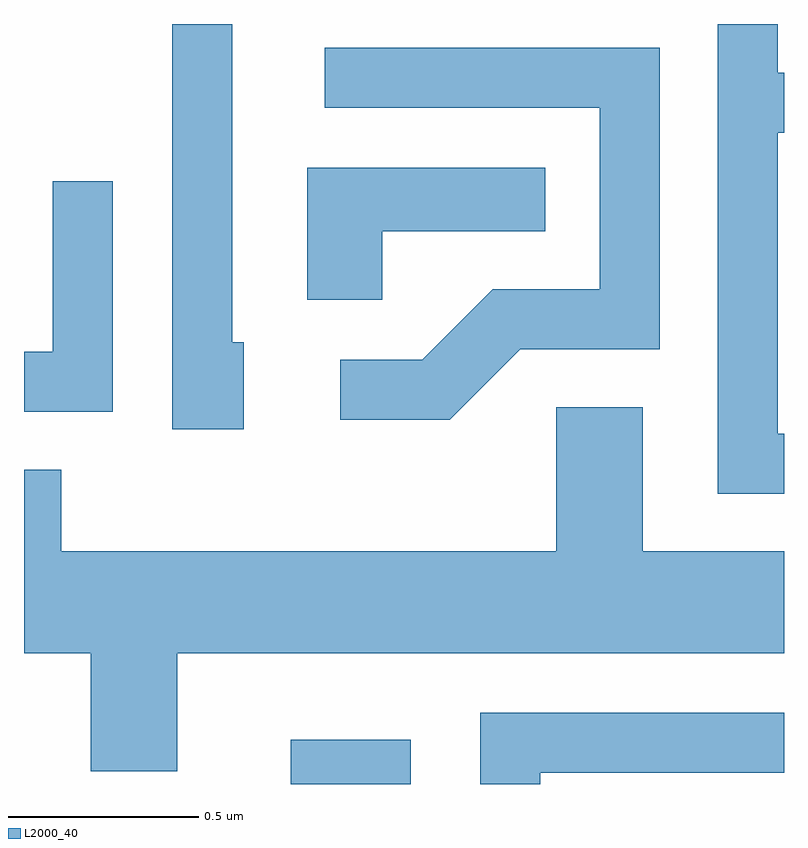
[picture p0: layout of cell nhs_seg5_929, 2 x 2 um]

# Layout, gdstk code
import gdstk
lib = gdstk.Library(unit=1e-6, precision=1e-09)
def R(c, l, rs):  # rectangles x0, y0, x1, y1
    for r in rs: c.add(gdstk.rectangle(r[:2], r[2:], *l))
def P(c, l, *ps):  # polygons
    for p in ps: c.add(gdstk.Polygon(p, *l))
L2000_40 = (2000, 40)

nhs_seg5_929 = lib.new_cell('nhs_seg5_929')
R(nhs_seg5_929, L2000_40, [(192.313,1503.072,192.629,1503.189)])
P(nhs_seg5_929, L2000_40, [(192.189,1504.234),(192.159,1504.234),(192.159,1505.072),(192.001,1505.072),(192.001,1504.006),(192.189,1504.006)],
  [(193.611,1503.994),(193.594,1503.994),(193.594,1504.786),(193.611,1504.786),(193.611,1504.944),(193.594,1504.944),(193.594,1505.072),(193.436,1505.072),(193.436,1503.836),(193.611,1503.836)],
  [(192.917,1504.216),(193.284,1504.216),(193.284,1505.009),(192.403,1505.009),(192.403,1504.851),(193.126,1504.851),(193.126,1504.374),(192.844,1504.374),(192.659,1504.189),(192.443,1504.189),(192.443,1504.031),(192.732,1504.031)],
  [(192.554,1504.526),(192.983,1504.526),(192.983,1504.694),(192.356,1504.694),(192.356,1504.346),(192.554,1504.346)],
  [(191.844,1504.658),(191.686,1504.658),(191.686,1504.209),(191.611,1504.209),(191.611,1504.051),(191.844,1504.051)],
  [(192.014,1503.416),(193.611,1503.416),(193.611,1503.684),(193.239,1503.684),(193.239,1504.064),(193.011,1504.064),(193.011,1503.684),(191.709,1503.684),(191.709,1503.899),(191.611,1503.899),(191.611,1503.416),(191.786,1503.416),(191.786,1503.106),(192.014,1503.106)],
  [(192.969,1503.101),(193.611,1503.101),(193.611,1503.259),(192.811,1503.259),(192.811,1503.072),(192.969,1503.072)])

lib.write_gds('nhs_seg5_929.gds')
